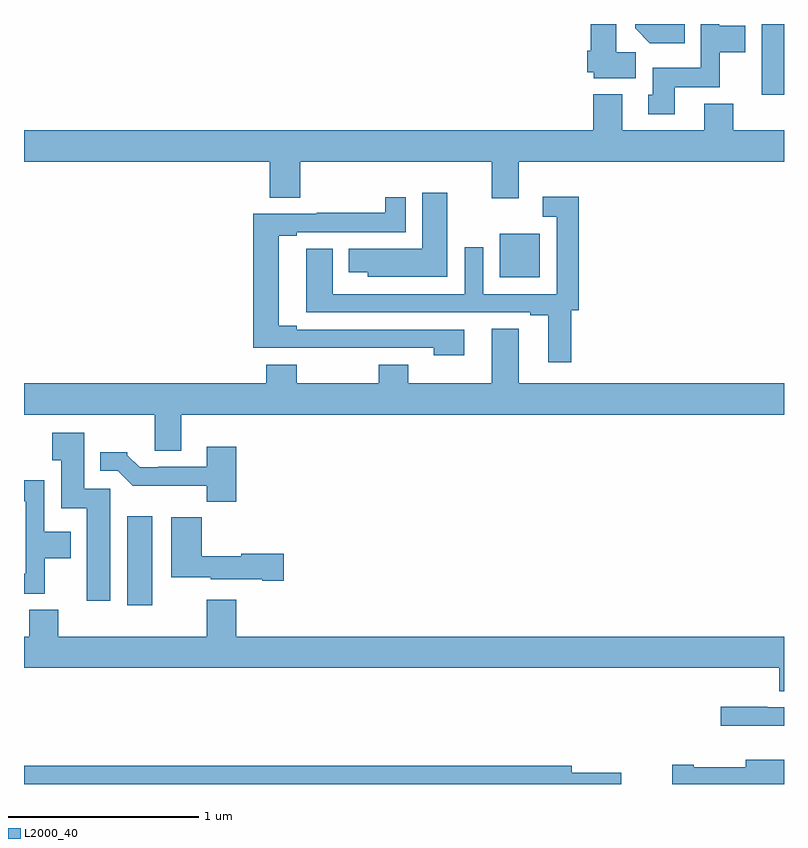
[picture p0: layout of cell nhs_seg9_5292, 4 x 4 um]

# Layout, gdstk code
import gdstk
lib = gdstk.Library(unit=1e-6, precision=1e-09)
def R(c, l, rs):  # rectangles x0, y0, x1, y1
    for r in rs: c.add(gdstk.rectangle(r[:2], r[2:], *l))
def P(c, l, *ps):  # polygons
    for p in ps: c.add(gdstk.Polygon(p, *l))
L2000_40 = (2000, 40)

nhs_seg9_5292 = lib.new_cell('nhs_seg9_5292')
R(nhs_seg9_5292, L2000_40, [(419.543,1171.44,419.674,1171.909), (421.505,1173.167,421.714,1173.397), (422.882,1174.128,423,1174.5)])
P(nhs_seg9_5292, L2000_40, [(422.477,1174.5),(422.216,1174.5),(422.216,1174.478),(422.294,1174.4),(422.477,1174.4)],
  [(422.425,1174.166),(422.661,1174.166),(422.661,1174.352),(422.797,1174.352),(422.797,1174.492),(422.658,1174.492),(422.658,1174.5),(422.562,1174.5),(422.562,1174.27),(422.309,1174.27),(422.309,1174.128),(422.285,1174.128),(422.285,1174.026),(422.425,1174.026)],
  [(422.221,1174.352),(422.116,1174.352),(422.116,1174.499),(421.982,1174.499),(421.982,1174.359),(421.964,1174.359),(421.964,1174.245),(421.998,1174.245),(421.998,1174.214),(422.221,1174.214)],
  [(421.603,1173.776),(423,1173.776),(423,1173.94),(422.732,1173.94),(422.732,1174.081),(422.579,1174.081),(422.579,1173.94),(422.149,1173.94),(422.149,1174.129),(421.997,1174.129),(421.997,1173.94),(419,1173.94),(419,1173.776),(420.293,1173.776),(420.293,1173.586),(420.453,1173.586),(420.453,1173.776),(421.463,1173.776),(421.463,1173.582),(421.603,1173.582)],
  [(421.228,1173.613),(421.097,1173.613),(421.097,1173.316),(420.71,1173.316),(420.71,1173.194),(420.81,1173.194),(420.81,1173.17),(421.228,1173.17)],
  [(421.879,1172.994),(421.919,1172.994),(421.919,1173.592),(421.731,1173.592),(421.731,1173.486),(421.803,1173.486),(421.803,1173.078),(421.416,1173.078),(421.416,1173.325),(421.32,1173.325),(421.32,1173.078),(420.625,1173.078),(420.625,1173.316),(420.485,1173.316),(420.485,1172.982),(421.664,1172.982),(421.664,1172.967),(421.76,1172.967),(421.76,1172.721),(421.879,1172.721)],
  [(421.318,1172.892),(420.436,1172.892),(420.436,1172.912),(420.34,1172.912),(420.34,1173.385),(420.436,1173.385),(420.436,1173.405),(421.008,1173.405),(421.008,1173.589),(420.9,1173.589),(420.9,1173.506),(420.541,1173.506),(420.541,1173.501),(420.206,1173.501),(420.206,1172.796),(420.523,1172.796),(420.523,1172.795),(420.779,1172.795),(420.779,1172.796),(421.157,1172.796),(421.157,1172.756),(421.318,1172.756)],
  [(419.827,1172.444),(423,1172.444),(423,1172.608),(421.603,1172.608),(421.603,1172.897),(421.463,1172.897),(421.463,1172.608),(421.023,1172.608),(421.023,1172.707),(420.868,1172.707),(420.868,1172.608),(420.435,1172.608),(420.435,1172.707),(420.275,1172.707),(420.275,1172.608),(419,1172.608),(419,1172.444),(419.687,1172.444),(419.687,1172.254),(419.827,1172.254)],
  [(419.455,1172.055),(419.317,1172.055),(419.317,1172.35),(419.149,1172.35),(419.149,1172.203),(419.195,1172.203),(419.195,1171.952),(419.33,1171.952),(419.33,1171.464),(419.455,1171.464)],
  [(420.116,1172.275),(419.963,1172.275),(419.963,1172.169),(419.707,1172.169),(419.707,1172.166),(419.608,1172.166),(419.544,1172.23),(419.544,1172.245),(419.402,1172.245),(419.402,1172.148),(419.493,1172.148),(419.572,1172.07),(419.961,1172.07),(419.961,1171.985),(420.116,1171.985)],
  [(419.109,1171.688),(419.245,1171.688),(419.245,1171.828),(419.106,1171.828),(419.106,1172.098),(419,1172.098),(419,1171.989),(419.01,1171.989),(419.01,1171.606),(419,1171.606),(419,1171.502),(419.109,1171.502)],
  [(420.367,1171.712),(420.144,1171.712),(420.144,1171.699),(419.936,1171.699),(419.936,1171.903),(419.774,1171.903),(419.774,1171.589),(419.982,1171.589),(419.982,1171.577),(420.254,1171.577),(420.254,1171.57),(420.367,1171.57)],
  [(423,1171.276),(420.116,1171.276),(420.116,1171.471),(419.963,1171.471),(419.963,1171.276),(419.18,1171.276),(419.18,1171.417),(419.027,1171.417),(419.027,1171.276),(419,1171.276),(419,1171.112),(422.975,1171.112),(422.975,1170.988),(423,1170.988)],
  [(423,1170.903),(422.911,1170.903),(422.911,1170.907),(422.667,1170.907),(422.667,1170.806),(423,1170.806)],
  [(423,1170.628),(422.798,1170.628),(422.798,1170.589),(422.524,1170.589),(422.524,1170.602),(422.412,1170.602),(422.412,1170.5),(423,1170.5)],
  [(422.143,1170.56),(421.882,1170.56),(421.882,1170.596),(419,1170.596),(419,1170.5),(422.143,1170.5)])

lib.write_gds('nhs_seg9_5292.gds')
